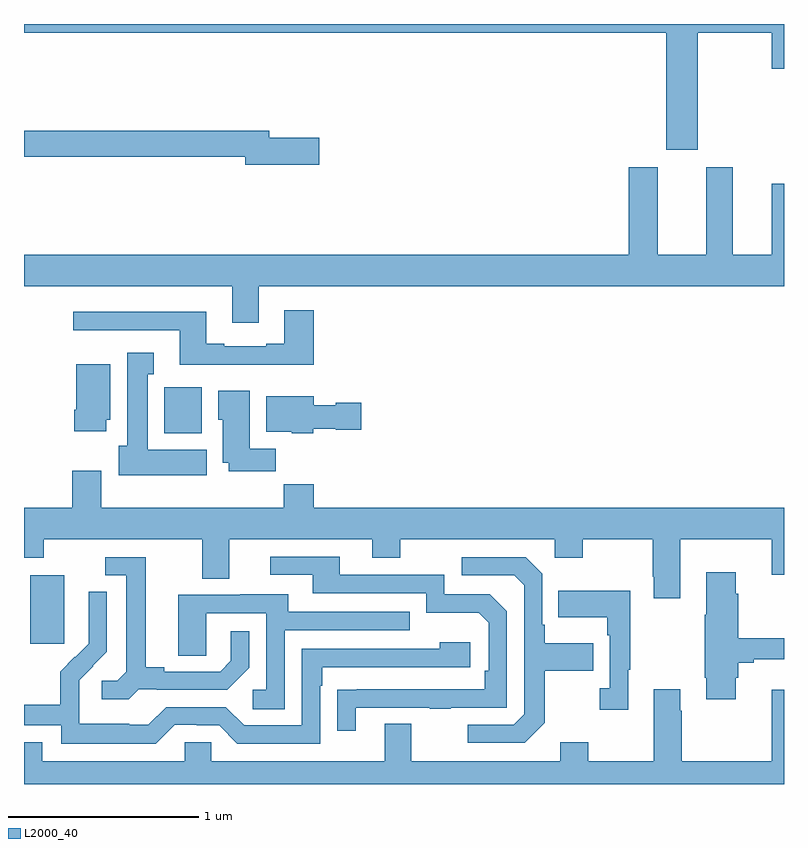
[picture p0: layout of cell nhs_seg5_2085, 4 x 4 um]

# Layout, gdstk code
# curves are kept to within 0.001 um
import gdstk
lib = gdstk.Library(unit=1e-6, precision=1e-09)
def R(c, l, rs):  # rectangles x0, y0, x1, y1
    for r in rs: c.add(gdstk.rectangle(r[:2], r[2:], *l))
def P(c, l, *ps):  # polygons
    for p in ps: c.add(gdstk.Polygon(p, *l))
L2000_40 = (2000, 40)

nhs_seg5_2085 = lib.new_cell('nhs_seg5_2085')
R(nhs_seg5_2085, L2000_40, [(233.033,861.537,233.212,861.898), (233.738,862.646,233.935,862.888)])
P(nhs_seg5_2085, L2000_40, [(236.545,864.752),(236.936,864.752),(236.936,864.564),(237,864.564),(237,864.799),(233,864.799),(233,864.752),(236.381,864.752),(236.381,864.138),(236.545,864.138)],
  [(234.553,864.2),(234.292,864.2),(234.292,864.236),(233,864.236),(233,864.1),(234.164,864.1),(234.164,864.058),(234.553,864.058)],
  [(234.235,863.42),(237,863.42),(237,863.959),(236.936,863.959),(236.936,863.584),(236.731,863.584),(236.731,864.046),(236.591,864.046),(236.591,863.584),(236.335,863.584),(236.335,864.046),(236.183,864.046),(236.183,863.584),(233,863.584),(233,863.42),(234.095,863.42),(234.095,863.226),(234.235,863.226)],
  [(234.524,863.293),(234.371,863.293),(234.371,863.116),(234.275,863.116),(234.275,863.103),(234.055,863.103),(234.055,863.116),(233.959,863.116),(233.959,863.284),(233.259,863.284),(233.259,863.187),(233.819,863.187),(233.819,863.006),(234.524,863.006)],
  [(233.962,862.558),(233.65,862.558),(233.65,862.955),(233.683,862.955),(233.683,863.068),(233.543,863.068),(233.543,862.578),(233.498,862.578),(233.498,862.424),(233.962,862.424)],
  [(233.434,862.716),(233.455,862.716),(233.455,863.008),(233.276,863.008),(233.276,862.768),(233.264,862.768),(233.264,862.656),(233.434,862.656)],
  [(234.326,862.564),(234.187,862.564),(234.187,862.87),(234.023,862.87),(234.023,862.716),(234.047,862.716),(234.047,862.49),(234.077,862.49),(234.077,862.446),(234.326,862.446)],
  [(234.522,862.67),(234.642,862.67),(234.642,862.663),(234.775,862.663),(234.775,862.805),(234.642,862.805),(234.642,862.792),(234.526,862.792),(234.526,862.84),(234.275,862.84),(234.275,862.652),(234.408,862.652),(234.408,862.646),(234.522,862.646)],
  [(236.455,862.088),(236.936,862.088),(236.936,861.9),(237,861.9),(237,862.252),(234.524,862.252),(234.524,862.376),(234.367,862.376),(234.367,862.252),(233.407,862.252),(233.407,862.447),(233.255,862.447),(233.255,862.252),(233,862.252),(233,861.989),(233.103,861.989),(233.103,862.088),(233.939,862.088),(233.939,861.88),(234.079,861.88),(234.079,862.088),(234.833,862.088),(234.833,861.989),(234.981,861.989),(234.981,862.088),(235.794,862.088),(235.794,861.989),(235.941,861.989),(235.941,862.088),(236.308,862.088),(236.308,861.889),(236.315,861.889),(236.315,861.777),(236.455,861.777)],
  [(234.745,861.201),(235.135,861.201),(235.135,861.196),(235.247,861.196),(235.247,861.201),(235.542,861.201),(235.542,861.708),(235.452,861.798),(235.212,861.798),(235.212,861.9),(234.661,861.9),(234.661,861.996),(234.297,861.996),(234.297,861.9),(234.521,861.9),(234.521,861.804),(235.116,861.804),(235.116,861.701),(235.393,861.701),(235.446,861.648),(235.446,861.394),(235.426,861.394),(235.426,861.297),(234.649,861.296),(234.649,861.078),(234.745,861.078)],
  [(235.741,861.121),(235.741,861.394),(235.997,861.394),(235.997,861.541),(235.741,861.541),(235.741,861.637),(235.728,861.637),(235.728,861.906),(235.641,861.993),(235.305,861.993),(235.305,861.897),(235.581,861.897),(235.632,861.846),(235.632,861.165),(235.578,861.111),(235.335,861.111),(235.335,861.015),(235.635,861.015)],
  [(233.604,861.297),(233.698,861.297),(233.698,861.294),(234.07,861.294),(234.186,861.41),(234.186,861.604),(234.089,861.604),(234.089,861.447),(234.032,861.39),(233.737,861.39),(233.737,861.413),(233.641,861.413),(233.641,861.993),(233.427,861.993),(233.427,861.897),(233.537,861.897),(233.537,861.389),(233.49,861.342),(233.409,861.342),(233.409,861.245),(233.552,861.245)],
  [(236.746,861.359),(236.759,861.359),(236.759,861.436),(236.842,861.436),(236.842,861.455),(237,861.455),(237,861.565),(236.759,861.565),(236.759,861.8),(236.746,861.8),(236.746,861.913),(236.591,861.913),(236.591,861.689),(236.584,861.689),(236.584,861.358),(236.591,861.358),(236.591,861.246),(236.746,861.246)],
  [(236.179,861.401),(236.191,861.401),(236.191,861.817),(235.813,861.817),(235.813,861.677),(236.07,861.677),(236.07,861.581),(236.082,861.581),(236.082,861.302),(236.031,861.302),(236.031,861.189),(236.179,861.189)],
  [(233.793,861.111),(233.909,861.111),(233.909,861.108),(234.027,861.108),(234.123,861.012),(234.558,861.012),(234.558,861.317),(234.571,861.317),(234.571,861.414),(235.348,861.414),(235.348,861.544),(235.187,861.544),(235.187,861.51),(234.462,861.51),(234.462,861.108),(234.159,861.108),(234.063,861.204),(233.748,861.204),(233.655,861.111),(233.555,861.111),(233.555,861.115),(233.292,861.115),(233.292,861.249),(233.29,861.249),(233.29,861.346),(233.436,861.494),(233.436,861.812),(233.34,861.812),(233.34,861.658),(233.342,861.658),(233.342,861.536),(233.271,861.465),(233.268,861.468),(233.191,861.391),(233.191,861.217),(233,861.217),(233,861.108),(233.196,861.108),(233.196,861.011),(233.693,861.011)],
  [(234.372,861.609),(235.031,861.609),(235.031,861.705),(234.391,861.705),(234.391,861.799),(234.137,861.799),(234.137,861.795),(233.813,861.795),(233.813,861.475),(233.958,861.475),(233.958,861.699),(234.276,861.699),(234.276,861.294),(234.204,861.294),(234.204,861.193),(234.372,861.193)],
  [(237,861.295),(236.936,861.295),(236.936,860.92),(236.463,860.92),(236.463,861.185),(236.455,861.185),(236.455,861.298),(236.315,861.298),(236.315,860.92),(235.971,860.92),(235.971,861.019),(235.823,861.019),(235.823,860.92),(235.039,860.92),(235.039,861.115),(234.899,861.115),(234.899,860.92),(233.985,860.92),(233.985,861.018),(233.847,861.018),(233.847,860.92),(233.095,860.92),(233.095,861.019),(233,861.019),(233,860.799),(237,860.799)])

lib.write_gds('nhs_seg5_2085.gds')
